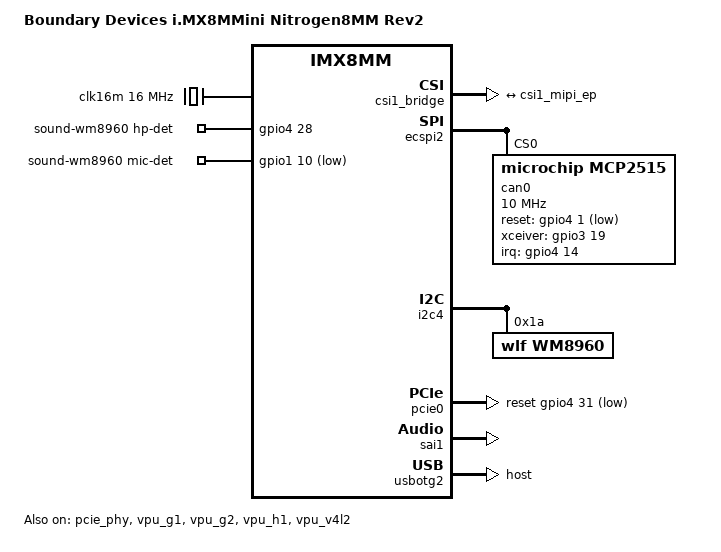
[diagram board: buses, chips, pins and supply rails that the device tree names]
// SPDX-License-Identifier: (GPL-2.0+ OR MIT)
/*
 * Copyright 2018 Boundary Devices
 */
/dts-v1/;
#include <dt-bindings/phy/phy-imx8-pcie.h>
#include "imx8mm.dtsi"
#include "imx8mm-nitrogen8mm_rev2.dtsi"

/ {
	model = "Boundary Devices i.MX8MMini Nitrogen8MM Rev2";
	compatible = "ezurio,imx8mm-nitrogen8mm_rev2", "fsl,imx8mm";

	clocks {
		clk16m: clk16m {
			compatible = "fixed-clock";
			#clock-cells = <0>;
			clock-frequency = <16000000>;
		};
	};

	sound-wm8960 {
		audio-codec = <&wm8960>;
		audio-cpu = <&sai1>;
		audio-routing =
			"Headphone Jack", "HP_L",
			"Headphone Jack", "HP_R",
			"Ext Spk", "SPK_LP",
			"Ext Spk", "SPK_LN",
			"Ext Spk", "SPK_RP",
			"Ext Spk", "SPK_RN",
			"LINPUT1", "Mic Jack",
			"Mic Jack", "MICB";
		codec-master;
		compatible = "fsl,imx-audio-wm8960";
		hp-det = <2 0>;
		hp-det-gpio = <&gpio4 28 GPIO_ACTIVE_HIGH>;
		mic-det-gpio = <&gpio1 10 GPIO_ACTIVE_LOW>;
		model = "wm8960-audio";
		pinctrl-names = "default";
		pinctrl-0 = <&pinctrl_sound_wm8960>;
	};
};

&csi1_bridge {
	fsl,mipi-mode;
	status = "okay";

	port {
		csi1_ep: endpoint {
			remote-endpoint = <&csi1_mipi_ep>;
		};
	};
};

&ecspi2 {
	assigned-clocks = <&clk IMX8MM_CLK_ECSPI2>;
	assigned-clock-parents = <&clk IMX8MM_SYS_PLL1_40M>;
	assigned-clock-rates = <40000000>;
	can0: can@0 {
		clocks = <&clk16m>;
		compatible = "microchip,mcp2515";
		interrupts-extended = <&gpio4 14 IRQ_TYPE_LEVEL_LOW>;
		pinctrl-names = "default";
		pinctrl-0 = <&pinctrl_ecspi2_mcp2515t>;
		reg = <0>;
		reset-gpios = <&gpio4 1 GPIO_ACTIVE_LOW>;
		spi-max-frequency = <10000000>;
		xceiver-gpios = <&gpio3 19 GPIO_ACTIVE_HIGH>;
	};
};

&i2c4 {
	wm8960: codec@1a {
		clock-names = "mclk";
		clocks = <&clk IMX8MM_CLK_SAI1_ROOT>;
		compatible = "wlf,wm8960";
		reg = <0x1a>;
		wlf,gpio-cfg = <1 3>;
		/* JD2: hp detect high for headphone*/
		wlf,hp-cfg = <2 2 3>;
		wlf,shared-lrclk;
	};
};

&iomuxc {
	/* mcp2515t: can controller */
	pinctrl_ecspi2_mcp2515t: ecspi2-mcp2515tgrp {
		fsl,pins = <
			MX8MM_IOMUXC_SAI1_TXD2_GPIO4_IO14	0x1c0
			MX8MM_IOMUXC_SAI1_RXC_GPIO4_IO1		0x100
			MX8MM_IOMUXC_SAI1_TXD3_GPIO4_IO15	0x1c0
			MX8MM_IOMUXC_SAI5_RXFS_GPIO3_IO19	0x100
		>;
	};

	pinctrl_pcie0: pcie0grp {
		fsl,pins = <
			MX8MM_IOMUXC_SAI3_TXFS_GPIO4_IO31	0x100
			MX8MM_IOMUXC_GPIO1_IO04_GPIO1_IO4	0x100
		>;
	};

	pinctrl_sai1: sai1grp {
		fsl,pins = <
			/* wm8960 */
			MX8MM_IOMUXC_SAI1_MCLK_SAI1_MCLK	0xd6
			MX8MM_IOMUXC_SAI1_TXFS_SAI1_TX_SYNC	0xd6
			MX8MM_IOMUXC_SAI1_TXC_SAI1_TX_BCLK	0xd6
			MX8MM_IOMUXC_SAI1_TXD0_SAI1_TX_DATA0	0xd6
			MX8MM_IOMUXC_SAI1_RXD0_SAI1_RX_DATA0	0xd6
		>;
	};

	pinctrl_usbotg2: usbotg2grp {
		fsl,pins = <
			MX8MM_IOMUXC_GPIO1_IO14_USB2_OTG_PWR	0x16
			MX8MM_IOMUXC_GPIO1_IO15_USB2_OTG_OC	0x156
		>;
	};
};

&pcie0 {
	assigned-clocks = <&clk IMX8MM_CLK_PCIE1_AUX>,
			  <&clk IMX8MM_CLK_PCIE1_CTRL>;
	assigned-clock-parents = <&clk IMX8MM_SYS_PLL2_50M>,
				 <&clk IMX8MM_SYS_PLL2_250M>;
	assigned-clock-rates = <10000000>, <250000000>;
	clocks = <&clk IMX8MM_CLK_PCIE1_ROOT>,
		 <&clk IMX8MM_CLK_PCIE1_AUX>,
		 <&clk IMX8MM_CLK_PCIE1_PHY>;
	clock-names = "pcie", "pcie_aux", "pcie_bus";
	disable-gpio = <&gpio1 4 GPIO_ACTIVE_LOW>;
	pinctrl-names = "default";
	pinctrl-0 = <&pinctrl_pcie0>;
	reset-gpio = <&gpio4 31 GPIO_ACTIVE_LOW>;
	status = "okay";
};

&pcie_phy {
	clocks = <&clk IMX8MM_CLK_PCIE1_PHY>;
	clock-names = "ref";
	fsl,clkreq-unsupported;
	fsl,refclk-pad-mode = <IMX8_PCIE_REFCLK_PAD_OUTPUT>;
	fsl,tx-deemph-gen1 = <0x2d>;
	fsl,tx-deemph-gen2 = <0xf>;
	status = "okay";
};

&sai1 {
	assigned-clocks = <&clk IMX8MM_AUDIO_PLL1>, <&clk IMX8MM_AUDIO_PLL2>, <&clk IMX8MM_CLK_SAI1>;
	assigned-clock-parents = <0>, <0>, <&clk IMX8MM_AUDIO_PLL1_OUT>;
	assigned-clock-rates = <786432000>, <722534400>, <12288000>;
	pinctrl-names = "default";
	pinctrl-0 = <&pinctrl_sai1>;
	status = "okay";
};

&usbotg2 {
	dr_mode = "host";
	over-current-active-low;
	pinctrl-names = "default";
	pinctrl-0 = <&pinctrl_usbotg2>;
	power-active-high;
	status = "okay";
};

&vpu_g1 {
	status = "okay";
};

&vpu_g2 {
	status = "okay";
};

&vpu_h1 {
	status = "okay";
};

&vpu_v4l2 {
	status = "okay";
};
